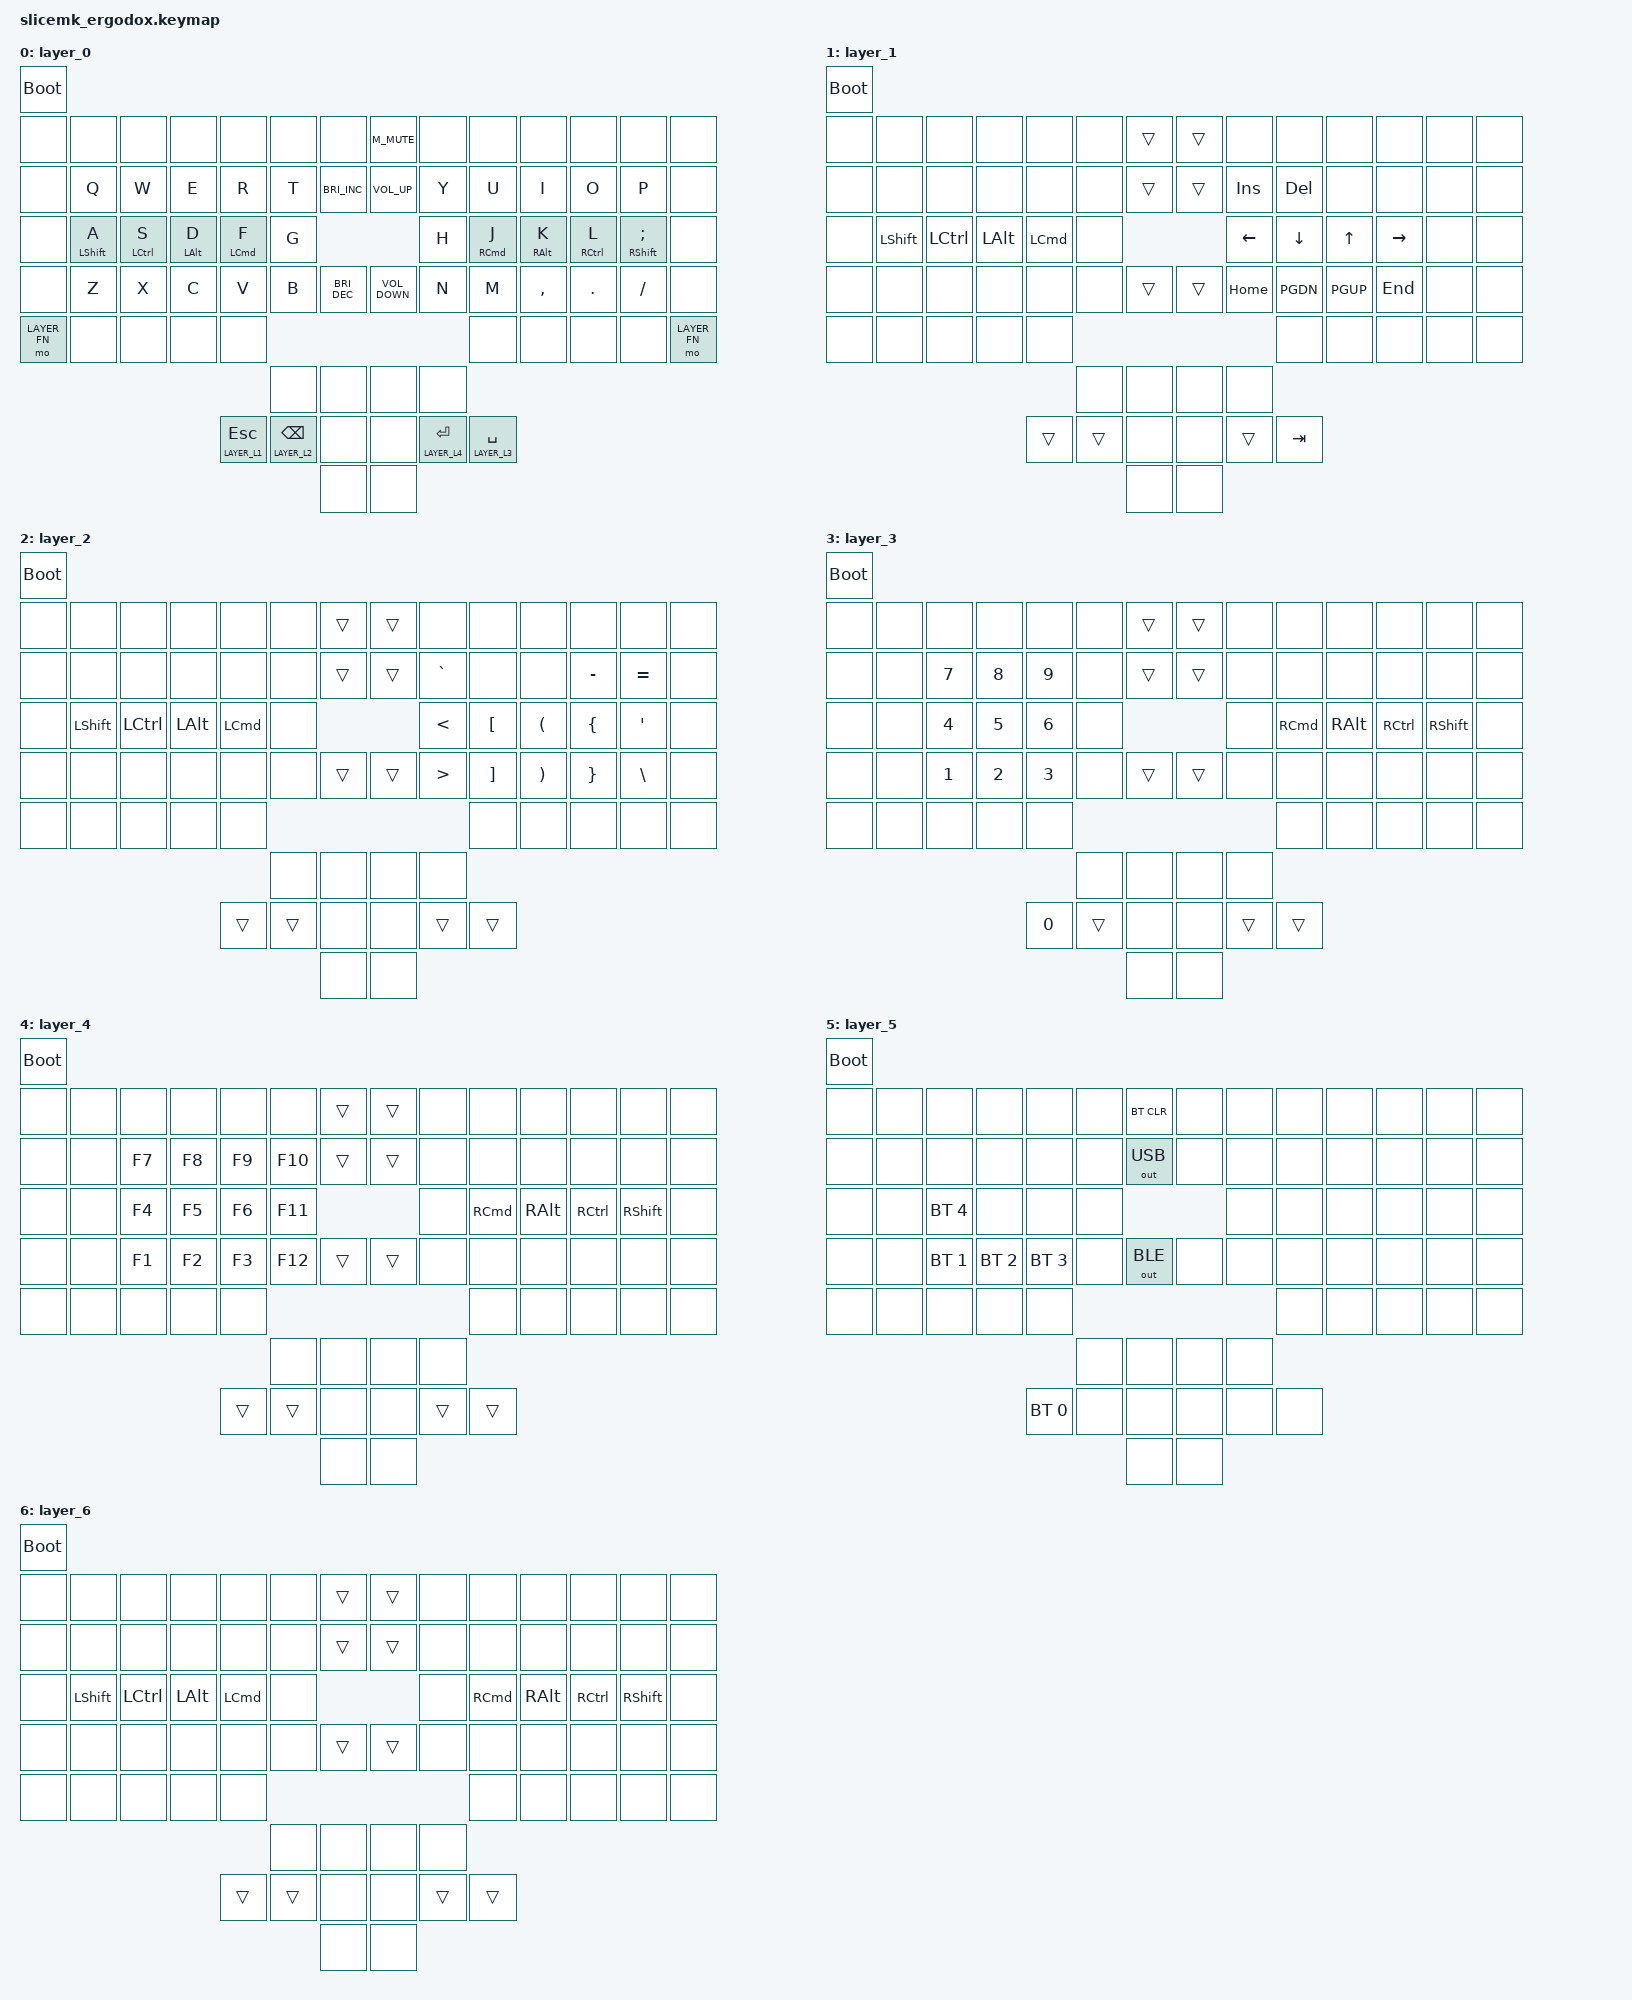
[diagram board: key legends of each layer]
#include <behaviors.dtsi>
#include <dt-bindings/zmk/bt.h>
#include <dt-bindings/zmk/keys.h>
#include <dt-bindings/zmk/outputs.h>
#include <dt-bindings/zmk/rgb.h>

#define LAYER_MAIN 0
#define LAYER_L1 1
#define LAYER_L2 2
#define LAYER_L3 3
#define LAYER_L4 4
#define LAYER_FN 5
#define LAYER_TEMPLATE 6



/ {
    behaviors {
        bm: balanced_homerow_mods {
            compatible = "zmk,behavior-hold-tap";
            label = "HOMEROW_MODS";
            #binding-cells = <2>;
            tapping-term-ms = <200>;    // <---[[moderate duration]]
            quick-tap-ms = <0>;
            flavor = "balanced";
            bindings = <&kp>, <&kp>;
        };
    };

	keymap {
		compatible = "zmk,keymap";
		layer_0 {
			bindings = <
				&bootloader
				&none        &none        &none       &none      &none            &none                  &none                &kp M_MUTE        &none              &none              &none      &none       &none                &none
				&none        &kp Q        &kp W       &kp E      &kp R            &kp T                  &kp C_BRIGHTNESS_INC &kp C_VOLUME_UP   &kp Y              &kp U              &kp I      &kp O       &kp P                &none
				&none        &mt LSHIFT A &mt LCTRL S &mt LALT D &mt LCMD F       &kp G                                                         &kp H              &mt RCMD J         &mt RALT K &mt RCTRL L &mt RSHIFT SEMICOLON &none
				&none        &kp Z        &kp X       &kp C      &kp V            &kp B                  &kp C_BRIGHTNESS_DEC &kp C_VOLUME_DOWN &kp N              &kp M              &kp CMMA   &kp DOT     &kp FSLH             &none
				&mo LAYER_FN &none        &none       &none      &none                                                                                             &none              &none      &none       &none                &mo LAYER_FN
				                                                                  &none                  &none                &none             &none
				                                                 &lt LAYER_L1 ESC &lt LAYER_L2 BACKSPACE &none                &none             &lt LAYER_L4 ENTER &lt LAYER_L3 SPACE
				                                                                                         &none                &none
			>;
		};
		layer_1 {
			bindings = <
				&bootloader
				&none &none      &none     &none    &none    &none  &trans &trans &none    &none    &none    &none     &none &none
				&none &none      &none     &none    &none    &none  &trans &trans &kp INS  &kp DEL  &none    &none     &none &none
				&none &kp LSHIFT &kp LCTRL &kp LALT &kp LCMD &none                &kp LEFT &kp DOWN &kp UP   &kp RIGHT &none &none
				&none &none      &none     &none    &none    &none  &trans &trans &kp HOME &kp PGDN &kp PGUP &kp END   &none &none
				&none &none      &none     &none    &none                                  &none    &none    &none     &none &none
				                                             &none  &none  &none  &none
				                                    &trans   &trans &none  &none  &trans   &kp TAB
				                                                    &none  &none
			>;
		};
		layer_2 {
			bindings = <
				&bootloader
				&none &none      &none     &none    &none    &none  &trans &trans &none     &none    &none    &none     &none     &none
				&none &none      &none     &none    &none    &none  &trans &trans &kp GRAVE &none    &none    &kp MINUS &kp EQUAL &none
				&none &kp LSHIFT &kp LCTRL &kp LALT &kp LCMD &none                &kp LT    &kp LBKT &kp LPAR &kp LBRC  &kp APOS  &none
				&none &none      &none     &none    &none    &none  &trans &trans &kp GT    &kp RBKT &kp RPAR &kp RBRC  &kp BSLH  &none
				&none &none      &none     &none    &none                                   &none    &none    &none     &none     &none
				                                             &none  &none  &none  &none
				                                    &trans   &trans &none  &none  &trans    &trans
				                                                    &none  &none
			>;
		};
		layer_3 {
			bindings = <
				&bootloader
				&none &none &none  &none  &none  &none  &trans &trans &none  &none    &none    &none     &none      &none
				&none &none &kp N7 &kp N8 &kp N9 &none  &trans &trans &none  &none    &none    &none     &none      &none
				&none &none &kp N4 &kp N5 &kp N6 &none                &none  &kp RCMD &kp RALT &kp RCTRL &kp RSHIFT &none
				&none &none &kp N1 &kp N2 &kp N3 &none  &trans &trans &none  &none    &none    &none     &none      &none
				&none &none &none  &none  &none                              &none    &none    &none     &none      &none
				                                 &none  &none  &none  &none
				                          &kp N0 &trans &none  &none  &trans &trans
				                                        &none  &none
			>;
		};
		layer_4 {
			bindings = <
				&bootloader
				&none &none &none  &none  &none  &none   &trans &trans &none  &none    &none    &none     &none      &none
				&none &none &kp F7 &kp F8 &kp F9 &kp F10 &trans &trans &none  &none    &none    &none     &none      &none
				&none &none &kp F4 &kp F5 &kp F6 &kp F11               &none  &kp RCMD &kp RALT &kp RCTRL &kp RSHIFT &none
				&none &none &kp F1 &kp F2 &kp F3 &kp F12 &trans &trans &none  &none    &none    &none     &none      &none
				&none &none &none  &none  &none                               &none    &none    &none     &none      &none
				                                 &none   &none  &none  &none
				                          &trans &trans  &none  &none  &trans &trans
				                                         &none  &none
			>;
		};
		layer_5 {
			bindings = <
				&bootloader
				&none &none &none        &none        &none        &none &bt BT_CLR   &none &none &none &none &none &none &none
				&none &none &none        &none        &none        &none &out OUT_USB &none &none &none &none &none &none &none
				&none &none &bt BT_SEL 4 &none        &none        &none                    &none &none &none &none &none &none
				&none &none &bt BT_SEL 1 &bt BT_SEL 2 &bt BT_SEL 3 &none &out OUT_BLE &none &none &none &none &none &none &none
				&none &none &none        &none        &none                                       &none &none &none &none &none
				                                                   &none &none        &none &none
				                                      &bt BT_SEL 0 &none &none        &none &none &none
				                                                         &none        &none
			>;
		};
		layer_6 {
			bindings = <
				&bootloader
				&none &none      &none     &none    &none    &none  &trans &trans &none  &none    &none    &none     &none      &none
				&none &none      &none     &none    &none    &none  &trans &trans &none  &none    &none    &none     &none      &none
				&none &kp LSHIFT &kp LCTRL &kp LALT &kp LCMD &none                &none  &kp RCMD &kp RALT &kp RCTRL &kp RSHIFT &none
				&none &none      &none     &none    &none    &none  &trans &trans &none  &none    &none    &none     &none      &none
				&none &none      &none     &none    &none                                &none    &none    &none     &none      &none
				                                             &none  &none  &none  &none
				                                    &trans   &trans &none  &none  &trans &trans
				                                                    &none  &none
			>;
		};
	};

};
